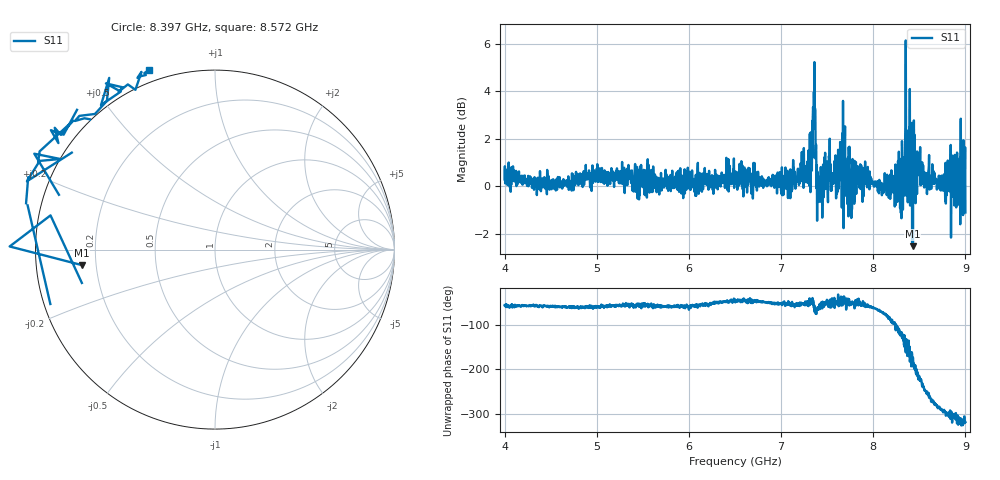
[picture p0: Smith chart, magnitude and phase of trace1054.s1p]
! Created with skrf 1.8.0 (http://scikit-rf.org).
# Hz S RI R 50.0
!freq ReS11 ImS11
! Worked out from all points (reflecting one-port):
!   1601 points, 4 GHz to 9 GHz, reference 50 ohm
!   lowest |S11| = -2.5 dB at 8.431 GHz (marker M1), VSWR 6.95, Z = 7.22 - j2.82 ohm
!   phase of S11 starts at -56 deg and turns -262 deg over the sweep
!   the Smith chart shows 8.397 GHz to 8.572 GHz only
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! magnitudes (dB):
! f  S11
! 4 GHz  0.3
! 4.625 GHz  -0.1
! 5.25 GHz  0.2
! 5.875 GHz  0.0
! 6.5 GHz  0.5
! 7.125 GHz  0.6
! 7.294 GHz  0.7
! 7.316 GHz  0.5
! 7.347 GHz  3.3
! 7.369 GHz  3.3
! 7.4 GHz  -0.3
! 7.416 GHz  -0.6
! 7.503 GHz  0.9
! 7.619 GHz  1.5
! 7.669 GHz  0.9
! 7.75 GHz  -0.5
! 7.775 GHz  1.1
! 7.922 GHz  0.1
! 8.097 GHz  0.1
! 8.262 GHz  -0.7
! 8.316 GHz  0.6
! 8.334 GHz  0.4
! 8.375 GHz  -0.7
! 8.406 GHz  0.3
! 8.431 GHz  -2.5
! 8.769 GHz  0.1
! 8.972 GHz  0.5
! 9 GHz  -1.1
